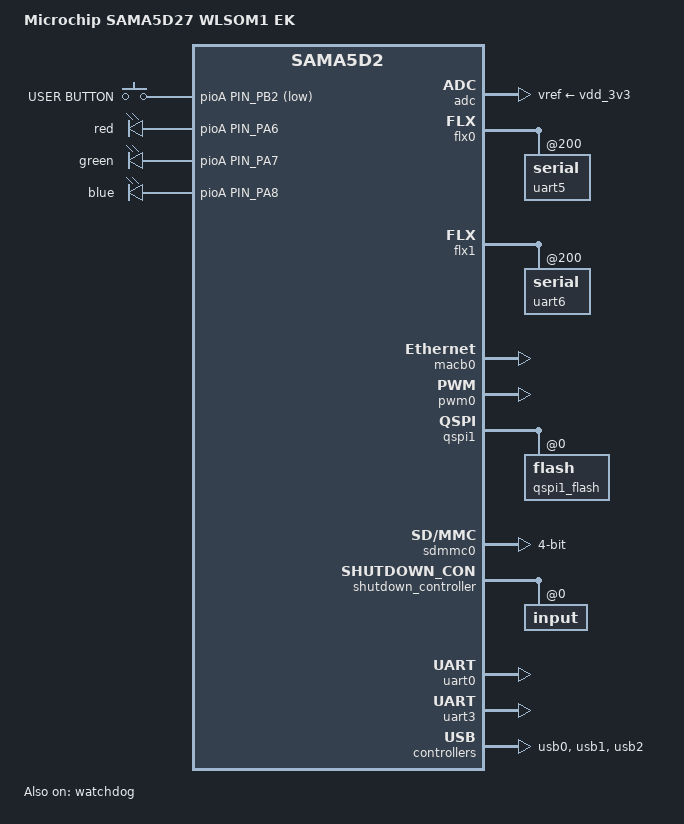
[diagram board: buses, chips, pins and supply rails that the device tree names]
// SPDX-License-Identifier: (GPL-2.0+ OR MIT)
/*
 * at91-sama5d27_wlsom1_ek.dts - Device Tree file for SAMA5D27 WLSOM1 EK
 *
 * Copyright (C) 2019 Microchip Technology Inc. and its subsidiaries
 *
 * Author: Nicolas Ferre <nicolas.ferre@microcihp.com>
 */
/dts-v1/;
#include "at91-sama5d27_wlsom1.dtsi"
#include <dt-bindings/input/input.h>

/ {
	model = "Microchip SAMA5D27 WLSOM1 EK";
	compatible = "microchip,sama5d27-wlsom1-ek", "microchip,sama5d27-wlsom1", "atmel,sama5d27", "atmel,sama5d2", "atmel,sama5";

	aliases {
		serial0 = &uart0;	/* DBGU */
		serial1 = &uart6;	/* BT */
		serial2 = &uart5;	/* mikro BUS 2 */
		serial3 = &uart3;	/* mikro BUS 1 */
		i2c1 = &i2c1;
	};

	chosen {
		stdout-path = "serial0:115200n8";
	};

	gpio-keys {
		compatible = "gpio-keys";

		pinctrl-names = "default";
		pinctrl-0 = <&pinctrl_key_gpio_default>;

		button-1 {
			label = "USER BUTTON";
			gpios = <&pioA PIN_PB2 GPIO_ACTIVE_LOW>;
			linux,code = <KEY_PROG1>;
			wakeup-source;
		};
	};

	leds {
		compatible = "gpio-leds";
		pinctrl-names = "default";
		pinctrl-0 = <&pinctrl_led_gpio_default>;
		status = "okay";

		led-red {
			label = "red";
			gpios = <&pioA PIN_PA6 GPIO_ACTIVE_HIGH>;
		};

		led-green {
			label = "green";
			gpios = <&pioA PIN_PA7 GPIO_ACTIVE_HIGH>;
		};

		led-blue {
			label = "blue";
			gpios = <&pioA PIN_PA8 GPIO_ACTIVE_HIGH>;
			linux,default-trigger = "heartbeat";
		};
	};
};

&adc {
	vddana-supply = <&vdd_3v3>;
	vref-supply = <&vdd_3v3>;
	pinctrl-names = "default";
	pinctrl-0 = <&pinctrl_adc_default>;
	status = "okay";
};

&flx0 {
	atmel,flexcom-mode = <ATMEL_FLEXCOM_MODE_USART>;
	status = "okay";

	uart5: serial@200 {
		pinctrl-0 = <&pinctrl_flx0_default>;
		pinctrl-names = "default";
		atmel,use-dma-rx;
		atmel,use-dma-tx;
		status = "okay";
	};
};

&flx1 {
	status = "okay";

	uart6: serial@200 {
		atmel,use-dma-rx;
		atmel,use-dma-tx;
		status = "okay";
	};
};

&macb0 {
	status = "okay";
};

&pioA {
	/*
	 * There is no real pinmux for ADC, if the pin
	 * is not requested by another peripheral then
	 * the muxing is done when channel is enabled.
	 * Requesting pins for ADC is GPIO is
	 * encouraged to prevent conflicts and to
	 * disable bias in order to be in the same
	 * state when the pin is not muxed to the adc.
	 */
	pinctrl_adc_default: adc_default {
		pinmux = <PIN_PD25__GPIO>,
			 <PIN_PD26__GPIO>;
		bias-disable;
	};

	pinctrl_flx0_default: flx0_usart_default {
		pinmux = <PIN_PB28__FLEXCOM0_IO0>,
			 <PIN_PB29__FLEXCOM0_IO1>;
		bias-disable;
	};

	pinctrl_key_gpio_default: key_gpio_default {
		pinmux = <PIN_PB2__GPIO>;
		bias-pull-up;
	};

	pinctrl_led_gpio_default: led_gpio_default {
		pinmux = <PIN_PA6__GPIO>,
			 <PIN_PA7__GPIO>,
			 <PIN_PA8__GPIO>;
		bias-pull-down;
	};

	pinctrl_sdmmc0_default: sdmmc0_default {
		cmd_data {
			pinmux = <PIN_PA1__SDMMC0_CMD>,
				 <PIN_PA2__SDMMC0_DAT0>,
				 <PIN_PA3__SDMMC0_DAT1>,
				 <PIN_PA4__SDMMC0_DAT2>,
				 <PIN_PA5__SDMMC0_DAT3>;
			bias-disable;
		};

		ck_cd_vddsel {
			pinmux = <PIN_PA0__SDMMC0_CK>,
				 <PIN_PA11__SDMMC0_VDDSEL>,
				 <PIN_PA12__SDMMC0_WP>,
				 <PIN_PA13__SDMMC0_CD>;
			bias-disable;
		};
	};

	pinctrl_uart0_default: uart0_default {
		pinmux = <PIN_PB26__URXD0>,
			 <PIN_PB27__UTXD0>;
		bias-disable;
	};

	pinctrl_uart3_default: uart3_default {
		pinmux = <PIN_PB11__URXD3>,
			 <PIN_PB12__UTXD3>;
		bias-disable;
	};

	pinctrl_pwm0_default: pwm0_default {
		pinmux = <PIN_PA31__PWML0>,
			 <PIN_PA30__PWMH0>;
		bias-disable;
	};

	pinctrl_usb_default: usb_default {
		pinmux = <PIN_PA10__GPIO>;
		bias-disable;
	};

	pinctrl_usba_vbus: usba_vbus {
		pinmux = <PIN_PA16__GPIO>;
		bias-disable;
	};
};

&pwm0 {
	pinctrl-names = "default";
	pinctrl-0 = <&pinctrl_pwm0_default>;
	status = "okay";
};

&qspi1 {
	status = "okay";

	qspi1_flash: flash@0 {
		status = "okay";
	};
};

&sdmmc0 {
	bus-width = <4>;
	pinctrl-names = "default";
	pinctrl-0 = <&pinctrl_sdmmc0_default>;
	status = "okay";
};

&shutdown_controller {
	debounce-delay-us = <976>;
	atmel,wakeup-rtc-timer;

	input@0 {
		reg = <0>;
	};
};

&tcb0 {
	timer0: timer@0 {
		compatible = "atmel,tcb-timer";
		reg = <0>;
	};

	timer1: timer@1 {
		compatible = "atmel,tcb-timer";
		reg = <1>;
	};
};

&uart0 {
	pinctrl-names = "default";
	pinctrl-0 = <&pinctrl_uart0_default>;
	atmel,use-dma-rx;
	atmel,use-dma-tx;
	status = "okay";
};

&uart3 {
	pinctrl-names = "default";
	pinctrl-0 = <&pinctrl_uart3_default>;
	atmel,use-dma-rx;
	atmel,use-dma-tx;
	status = "okay";
};

&usb0 {
	atmel,vbus-gpio = <&pioA PIN_PA16 GPIO_ACTIVE_HIGH>;
	pinctrl-names = "default";
	pinctrl-0 = <&pinctrl_usba_vbus>;
	status = "okay";
};

&usb1 {
	num-ports = <3>;
	atmel,vbus-gpio = <0
			   &pioA PIN_PA10 GPIO_ACTIVE_HIGH
			   0
			  >;
	pinctrl-names = "default";
	pinctrl-0 = <&pinctrl_usb_default>;
	status = "okay";
};

&usb2 {
	phy_type = "hsic";
	status = "okay";
};

&watchdog {
	status = "okay";
};

